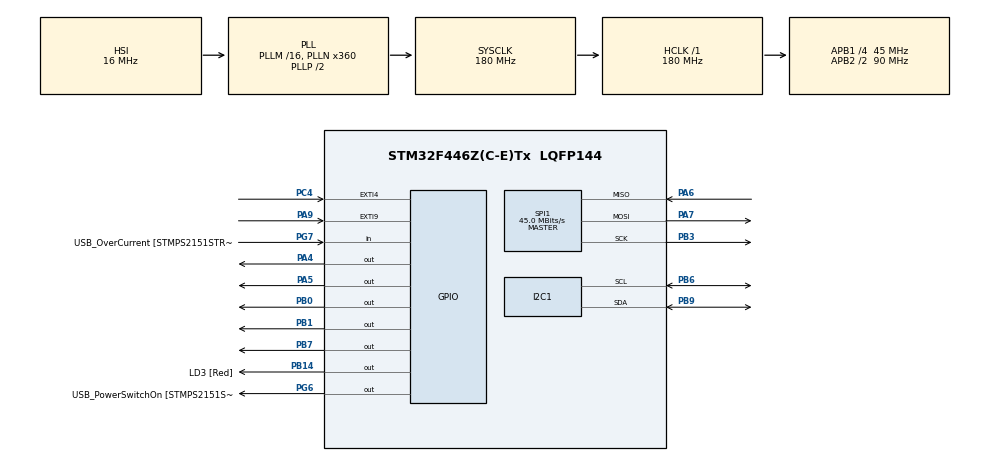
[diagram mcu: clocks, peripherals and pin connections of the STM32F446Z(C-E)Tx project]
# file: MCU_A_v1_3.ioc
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FREERTOS.Tasks01=task1,24,128,StartTask1,Default,NULL,Dynamic,NULL,NULL;LCD_Task,8,128,LCDTask,Default,NULL,Dynamic,NULL,NULL;myTask03,8,128,StartTask03,Default,NULL,Dynamic,NULL,NULL;Keypad_Task,8,128,KeypadTask,Default,NULL,Dynamic,NULL,NULL
Mcu.Family=STM32F4
Mcu.Name=STM32F446Z(C-E)Tx
Mcu.Package=LQFP144
NVIC.EXTI4_IRQn=true\:5\:0\:false\:false\:true\:true\:true\:true\:true
NVIC.EXTI9_5_IRQn=true\:5\:0\:false\:false\:true\:true\:true\:true\:true
NVIC.PriorityGroup=NVIC_PRIORITYGROUP_4
NVIC.TIM6_DAC_IRQn=true\:15\:0\:false\:false\:true\:false\:false\:true\:true
NVIC.TimeBase=TIM6_DAC_IRQn
NVIC.TimeBaseIP=TIM6
PA10.GPIO_Label=USB_ID
PA10.Signal=USB_OTG_FS_ID
PA11.GPIO_Label=USB_DM
PA11.Signal=USB_OTG_FS_DM
PA12.GPIO_Label=USB_DP
PA12.Signal=USB_OTG_FS_DP
PA13.GPIO_Label=TMS
PA13.Signal=SYS_JTMS-SWDIO
PA14.GPIO_Label=TCK
PA14.Signal=SYS_JTCK-SWCLK
PA4.Signal=GPIO_Output
PA5.Signal=GPIO_Output
PA6.Mode=Full_Duplex_Master
PA6.Signal=SPI1_MISO
PA7.Mode=Full_Duplex_Master
PA7.Signal=SPI1_MOSI
PA8.GPIO_Label=USB_SOF [TP1]
PA8.Signal=USB_OTG_FS_SOF
PA9.Signal=GPXTI9
PB0.Signal=GPIO_Output
PB1.Signal=GPIO_Output
PB14.GPIO_Label=LD3 [Red]
PB14.Signal=GPIO_Output
PB3.Mode=Full_Duplex_Master
PB3.Signal=SPI1_SCK
PB6.Mode=I2C
PB6.Signal=I2C1_SCL
PB7.Signal=GPIO_Output
PB9.Mode=I2C
PB9.Signal=I2C1_SDA
PC14-OSC32_IN.Signal=RCC_OSC32_IN
PC15-OSC32_OUT.Signal=RCC_OSC32_OUT
PC4.Signal=GPXTI4
PD8.GPIO_Label=STLK_RX [STM32F103CBT6_PA3]
PD8.Signal=USART3_TX
PD9.GPIO_Label=STLK_TX [STM32F103CBT6_PA2]
PD9.Signal=USART3_RX
PG6.GPIO_Label=USB_PowerSwitchOn [STMPS2151STR_EN]
PG6.Signal=GPIO_Output
PG7.GPIO_Label=USB_OverCurrent [STMPS2151STR_FAULT]
PG7.Signal=GPIO_Input
PH0-OSC_IN.GPIO_Label=MCO [STM32F103CBT6_PA8]
PH0-OSC_IN.Signal=RCC_OSC_IN
PH1-OSC_OUT.Signal=RCC_OSC_OUT
ProjectManager.HeapSize=0x200
ProjectManager.StackSize=0x400
ProjectManager.TargetToolchain=STM32CubeIDE
RCC.48MHZClocksFreq_Value=24000000
RCC.AHBFreq_Value=180000000
RCC.APB1CLKDivider=RCC_HCLK_DIV4
RCC.APB1Freq_Value=45000000
RCC.APB1TimFreq_Value=90000000
RCC.APB2CLKDivider=RCC_HCLK_DIV2
RCC.APB2Freq_Value=90000000
RCC.APB2TimFreq_Value=180000000
RCC.CortexFreq_Value=180000000
RCC.HCLKFreq_Value=180000000
RCC.HSE_VALUE=8000000
RCC.HSI_VALUE=16000000
RCC.LSE_VALUE=32768
RCC.PLLMUL=RCC_PLL_MUL9
RCC.PLLN=360
RCC.PRESCALERUSB=RCC_USBCLKSOURCE_PLL_DIV1_5
RCC.SYSCLKFreq_VALUE=180000000
RCC.SYSCLKSource=RCC_SYSCLKSOURCE_PLLCLK
RCC.SYSCLKSourceVirtual=RCC_SYSCLKSOURCE_PLLCLK
RCC.USBFreq_Value=180000000
RCC.VCOOutputFreq_Value=360000000
SPI1.BaudRatePrescaler=SPI_BAUDRATEPRESCALER_2
SPI1.CalculateBaudRate=45.0 MBits/s
SPI1.Direction=SPI_DIRECTION_2LINES
SPI1.Mode=SPI_MODE_MASTER
SPI1.VirtualType=VM_MASTER
VP_FREERTOS_VS_CMSIS_V2.Mode=CMSIS_V2
VP_SYS_VS_tim6.Mode=TIM6
board=NUCLEO-F446ZE

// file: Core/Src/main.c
/* USER CODE BEGIN Header */
/**
  ******************************************************************************
  * @file           : main.c
  * @brief          : Main program body
  ******************************************************************************
  * @attention
  *
  * Copyright (c) 2026 STMicroelectronics.
  * All rights reserved.
  *
  * This software is licensed under terms that can be found in the LICENSE file
  * in the root directory of this software component.
  * If no LICENSE file comes with this software, it is provided AS-IS.
  *
  ******************************************************************************
  */
/* USER CODE END Header */
#include "main.h"
#include "cmsis_os.h"

/* USER CODE BEGIN Includes */
#include "lcd.h"
#include "keypad.h"
/* USER CODE END Includes */

I2C_HandleTypeDef hi2c1;

SPI_HandleTypeDef hspi1;

/* Definitions for task1 */
osThreadId_t task1Handle;
const osThreadAttr_t task1_attributes = {
  .name = "task1",
  .stack_size = 128 * 4,
  .priority = (osPriority_t) osPriorityNormal,
};
/* Definitions for LCD_Task */
osThreadId_t LCD_TaskHandle;
const osThreadAttr_t LCD_Task_attributes = {
  .name = "LCD_Task",
  .stack_size = 128 * 4,
  .priority = (osPriority_t) osPriorityLow,
};
/* Definitions for myTask03 */
osThreadId_t myTask03Handle;
const osThreadAttr_t myTask03_attributes = {
  .name = "myTask03",
  .stack_size = 128 * 4,
  .priority = (osPriority_t) osPriorityLow,
};
/* Definitions for Keypad_Task */
osThreadId_t Keypad_TaskHandle;
const osThreadAttr_t Keypad_Task_attributes = {
  .name = "Keypad_Task",
  .stack_size = 128 * 4,
  .priority = (osPriority_t) osPriorityLow,
};

void SystemClock_Config(void);
static void MX_GPIO_Init(void);
static void MX_SPI1_Init(void);
static void MX_I2C1_Init(void);
void StartTask1(void *argument);
void LCDTask(void *argument);
void StartTask03(void *argument);
void KeypadTask(void *argument);

int main(void)
{

  /* MCU Configuration--------------------------------------------------------*/

  /* Reset of all peripherals, Initializes the Flash interface and the Systick. */
  HAL_Init();

  /* Configure the system clock */
  SystemClock_Config();

  /* Initialize all configured peripherals */
  MX_GPIO_Init();
  MX_SPI1_Init();
  MX_I2C1_Init();

  /* Init scheduler */
  osKernelInitialize();

  /* USER CODE BEGIN RTOS_SEMAPHORES */
  /* add semaphores, ... */
  LCD_Init();
  KEYPAD_Init();
  /* USER CODE END RTOS_SEMAPHORES */

  /* Create the thread(s) */
  /* creation of task1 */
  task1Handle = osThreadNew(StartTask1, NULL, &task1_attributes);

  /* creation of LCD_Task */
  LCD_TaskHandle = osThreadNew(LCDTask, NULL, &LCD_Task_attributes);

  /* creation of myTask03 */
  myTask03Handle = osThreadNew(StartTask03, NULL, &myTask03_attributes);

  /* creation of Keypad_Task */
  Keypad_TaskHandle = osThreadNew(KeypadTask, NULL, &Keypad_Task_attributes);

  /* Start scheduler */
  osKernelStart();

  /* We should never get here as control is now taken by the scheduler */

  /* Infinite loop */
  while (1)
  {

  }
}

void SystemClock_Config(void)
{
  RCC_OscInitTypeDef RCC_OscInitStruct = {0};
  RCC_ClkInitTypeDef RCC_ClkInitStruct = {0};

  /** Configure the main internal regulator output voltage
  */
  __HAL_RCC_PWR_CLK_ENABLE();
  __HAL_PWR_VOLTAGESCALING_CONFIG(PWR_REGULATOR_VOLTAGE_SCALE1);

  /** Initializes the RCC Oscillators according to the specified parameters
  * in the RCC_OscInitTypeDef structure.
  */
  RCC_OscInitStruct.OscillatorType = RCC_OSCILLATORTYPE_HSI;
  RCC_OscInitStruct.HSIState = RCC_HSI_ON;
  RCC_OscInitStruct.HSICalibrationValue = RCC_HSICALIBRATION_DEFAULT;
  RCC_OscInitStruct.PLL.PLLState = RCC_PLL_ON;
  RCC_OscInitStruct.PLL.PLLSource = RCC_PLLSOURCE_HSI;
  RCC_OscInitStruct.PLL.PLLM = 16;
  RCC_OscInitStruct.PLL.PLLN = 360;
  RCC_OscInitStruct.PLL.PLLP = RCC_PLLP_DIV2;
  RCC_OscInitStruct.PLL.PLLQ = 2;
  RCC_OscInitStruct.PLL.PLLR = 2;
  if (HAL_RCC_OscConfig(&RCC_OscInitStruct) != HAL_OK)
  {
    Error_Handler();
  }

  /** Activate the Over-Drive mode
  */
  if (HAL_PWREx_EnableOverDrive() != HAL_OK)
  {
    Error_Handler();
  }

  /** Initializes the CPU, AHB and APB buses clocks
  */
  RCC_ClkInitStruct.ClockType = RCC_CLOCKTYPE_HCLK|RCC_CLOCKTYPE_SYSCLK
                              |RCC_CLOCKTYPE_PCLK1|RCC_CLOCKTYPE_PCLK2;
  RCC_ClkInitStruct.SYSCLKSource = RCC_SYSCLKSOURCE_PLLCLK;
  RCC_ClkInitStruct.AHBCLKDivider = RCC_SYSCLK_DIV1;
  RCC_ClkInitStruct.APB1CLKDivider = RCC_HCLK_DIV4;
  RCC_ClkInitStruct.APB2CLKDivider = RCC_HCLK_DIV2;

  if (HAL_RCC_ClockConfig(&RCC_ClkInitStruct, FLASH_LATENCY_5) != HAL_OK)
  {
    Error_Handler();
  }
}

static void MX_I2C1_Init(void)
{

  hi2c1.Instance = I2C1;
  hi2c1.Init.ClockSpeed = 100000;
  hi2c1.Init.DutyCycle = I2C_DUTYCYCLE_2;
  hi2c1.Init.OwnAddress1 = 0;
  hi2c1.Init.AddressingMode = I2C_ADDRESSINGMODE_7BIT;
  hi2c1.Init.DualAddressMode = I2C_DUALADDRESS_DISABLE;
  hi2c1.Init.OwnAddress2 = 0;
  hi2c1.Init.GeneralCallMode = I2C_GENERALCALL_DISABLE;
  hi2c1.Init.NoStretchMode = I2C_NOSTRETCH_DISABLE;
  if (HAL_I2C_Init(&hi2c1) != HAL_OK)
  {
    Error_Handler();
  }

}

static void MX_SPI1_Init(void)
{

  /* SPI1 parameter configuration*/
  hspi1.Instance = SPI1;
  hspi1.Init.Mode = SPI_MODE_MASTER;
  hspi1.Init.Direction = SPI_DIRECTION_2LINES;
  hspi1.Init.DataSize = SPI_DATASIZE_8BIT;
  hspi1.Init.CLKPolarity = SPI_POLARITY_LOW;
  hspi1.Init.CLKPhase = SPI_PHASE_1EDGE;
  hspi1.Init.NSS = SPI_NSS_SOFT;
  hspi1.Init.BaudRatePrescaler = SPI_BAUDRATEPRESCALER_2;
  hspi1.Init.FirstBit = SPI_FIRSTBIT_MSB;
  hspi1.Init.TIMode = SPI_TIMODE_DISABLE;
  hspi1.Init.CRCCalculation = SPI_CRCCALCULATION_DISABLE;
  hspi1.Init.CRCPolynomial = 10;
  if (HAL_SPI_Init(&hspi1) != HAL_OK)
  {
    Error_Handler();
  }

}

static void MX_GPIO_Init(void)
{
  GPIO_InitTypeDef GPIO_InitStruct = {0};

  /* GPIO Ports Clock Enable */
  __HAL_RCC_GPIOC_CLK_ENABLE();
  __HAL_RCC_GPIOH_CLK_ENABLE();
  __HAL_RCC_GPIOA_CLK_ENABLE();
  __HAL_RCC_GPIOB_CLK_ENABLE();
  __HAL_RCC_GPIOD_CLK_ENABLE();
  __HAL_RCC_GPIOG_CLK_ENABLE();

  /*Configure GPIO pin Output Level */
  HAL_GPIO_WritePin(GPIOA, GPIO_PIN_4|GPIO_PIN_5, GPIO_PIN_RESET);

  /*Configure GPIO pin Output Level */
  HAL_GPIO_WritePin(GPIOB, GPIO_PIN_0|GPIO_PIN_1|LD3_Pin|GPIO_PIN_7, GPIO_PIN_RESET);

  /*Configure GPIO pin Output Level */
  HAL_GPIO_WritePin(USB_PowerSwitchOn_GPIO_Port, USB_PowerSwitchOn_Pin, GPIO_PIN_RESET);

  /*Configure GPIO pins : PA4 PA5 */
  GPIO_InitStruct.Pin = GPIO_PIN_4|GPIO_PIN_5;
  GPIO_InitStruct.Mode = GPIO_MODE_OUTPUT_PP;
  GPIO_InitStruct.Pull = GPIO_NOPULL;
  GPIO_InitStruct.Speed = GPIO_SPEED_FREQ_LOW;
  HAL_GPIO_Init(GPIOA, &GPIO_InitStruct);

  /*Configure GPIO pin : PC4 */
  GPIO_InitStruct.Pin = GPIO_PIN_4;
  GPIO_InitStruct.Mode = GPIO_MODE_IT_RISING;
  GPIO_InitStruct.Pull = GPIO_NOPULL;
  HAL_GPIO_Init(GPIOC, &GPIO_InitStruct);

  /*Configure GPIO pins : PB0 PB1 LD3_Pin PB7 */
  GPIO_InitStruct.Pin = GPIO_PIN_0|GPIO_PIN_1|LD3_Pin|GPIO_PIN_7;
  GPIO_InitStruct.Mode = GPIO_MODE_OUTPUT_PP;
  GPIO_InitStruct.Pull = GPIO_NOPULL;
  GPIO_InitStruct.Speed = GPIO_SPEED_FREQ_LOW;
  HAL_GPIO_Init(GPIOB, &GPIO_InitStruct);

  /*Configure GPIO pins : STLK_RX_Pin STLK_TX_Pin */
  GPIO_InitStruct.Pin = STLK_RX_Pin|STLK_TX_Pin;
  GPIO_InitStruct.Mode = GPIO_MODE_AF_PP;
  GPIO_InitStruct.Pull = GPIO_NOPULL;
  GPIO_InitStruct.Speed = GPIO_SPEED_FREQ_VERY_HIGH;
  GPIO_InitStruct.Alternate = GPIO_AF7_USART3;
  HAL_GPIO_Init(GPIOD, &GPIO_InitStruct);

  /*Configure GPIO pin : USB_PowerSwitchOn_Pin */
  GPIO_InitStruct.Pin = USB_PowerSwitchOn_Pin;
  GPIO_InitStruct.Mode = GPIO_MODE_OUTPUT_PP;
  GPIO_InitStruct.Pull = GPIO_NOPULL;
  GPIO_InitStruct.Speed = GPIO_SPEED_FREQ_LOW;
  HAL_GPIO_Init(USB_PowerSwitchOn_GPIO_Port, &GPIO_InitStruct);

  /*Configure GPIO pin : USB_OverCurrent_Pin */
  GPIO_InitStruct.Pin = USB_OverCurrent_Pin;
  GPIO_InitStruct.Mode = GPIO_MODE_INPUT;
  GPIO_InitStruct.Pull = GPIO_NOPULL;
  HAL_GPIO_Init(USB_OverCurrent_GPIO_Port, &GPIO_InitStruct);

  /*Configure GPIO pins : USB_SOF_Pin USB_ID_Pin USB_DM_Pin USB_DP_Pin */
  GPIO_InitStruct.Pin = USB_SOF_Pin|USB_ID_Pin|USB_DM_Pin|USB_DP_Pin;
  GPIO_InitStruct.Mode = GPIO_MODE_AF_PP;
  GPIO_InitStruct.Pull = GPIO_NOPULL;
  GPIO_InitStruct.Speed = GPIO_SPEED_FREQ_VERY_HIGH;
  GPIO_InitStruct.Alternate = GPIO_AF10_OTG_FS;
  HAL_GPIO_Init(GPIOA, &GPIO_InitStruct);

  /*Configure GPIO pin : PA9 */
  GPIO_InitStruct.Pin = GPIO_PIN_9;
  GPIO_InitStruct.Mode = GPIO_MODE_IT_FALLING;
  GPIO_InitStruct.Pull = GPIO_NOPULL;
  HAL_GPIO_Init(GPIOA, &GPIO_InitStruct);

  /* EXTI interrupt init*/
  HAL_NVIC_SetPriority(EXTI4_IRQn, 5, 0);
  HAL_NVIC_EnableIRQ(EXTI4_IRQn);

  HAL_NVIC_SetPriority(EXTI9_5_IRQn, 5, 0);
  HAL_NVIC_EnableIRQ(EXTI9_5_IRQn);

}

/* USER CODE BEGIN 4 */

void HAL_GPIO_EXTI_Callback(uint16_t GPIO_Pin)
{
  KEYPAD_IrqFromIsr();
}
/* USER CODE END 4 */

void StartTask1(void *argument)
{
  /* USER CODE BEGIN 5 */
  /* Infinite loop */
  uint8_t val = 0;
  char user[10] = "none";
  char level[15] = "unauthorized";
  for(;;)
  {
    val++;
	  HAL_GPIO_TogglePin(GPIOA, GPIO_PIN_5); // Toggle Blue LED
    LCD_BeginFrame();
    if(val % 2 == 0)
    {
      LCD_FillRect(470, 0, 10, 10, 0, 39, 76);
    }
    else
    {
      LCD_FillRect(470, 0, 10, 10, 0, 255, 0);
    }
    LCD_DrawText(15, 290, "user: ", 155, 2);
    LCD_DrawText(80, 290, user, 155, 2);
    LCD_DrawText(240, 290, "level: ", 155, 2);
    LCD_DrawText(320, 290, level, 155, 2);
    LCD_EndFrame();
	  osDelay(1000);                          // DO NOT use HAL_Delay() here
  }
  /* USER CODE END 5 */
}

void LCDTask(void *argument)
{
  /* USER CODE BEGIN LCDTask */
	/* Infinite loop */

	for(;;)
	{
		LCD_Render();
		osDelay(1);
	}
  /* USER CODE END LCDTask */
}

void StartTask03(void *argument)
{
  /* USER CODE BEGIN StartTask03 */
  osDelay(2000); // wait 5 seconds before clearing screen
  LCD_BeginFrame();
  LCD_FillRect(0, 70, 480, 200, 228, 228, 228);
  LCD_EndFrame();

  /* Infinite loop */
  for(;;)
  {
	  Class_t class;
    if(!KEYPAD_PromptClassNumber(&class))
    {
      LCD_BeginFrame();
      LCD_FillRect(0, 70, 480, 200, 228, 228, 228);
      LCD_DrawText(15, 140, "invalid class entered!", 155, 3);
      LCD_EndFrame();
    }
    else
    {
      LCD_BeginFrame();
      LCD_FillRect(0, 70, 480, 200, 228, 228, 228);
      LCD_DrawText(15, 140, "class entered:", 155, 3);
      LCD_DrawText(300, 140, class.number_string, 155, 3);
      LCD_EndFrame();
    }
    osDelay(3000);
  }
  /* USER CODE END StartTask03 */
}

void KeypadTask(void *argument)
{
  /* USER CODE BEGIN KeypadTask */
  /* Infinite loop */
  for(;;)
  {
	  KEYPAD_ReadAnyPresses();
    osDelay(1);
  }
  /* USER CODE END KeypadTask */
}

void HAL_TIM_PeriodElapsedCallback(TIM_HandleTypeDef *htim)
{
  if (htim->Instance == TIM6)
  {
    HAL_IncTick();
  }
}

void Error_Handler(void)
{
  __disable_irq();
  while (1)
  {
  }
}
